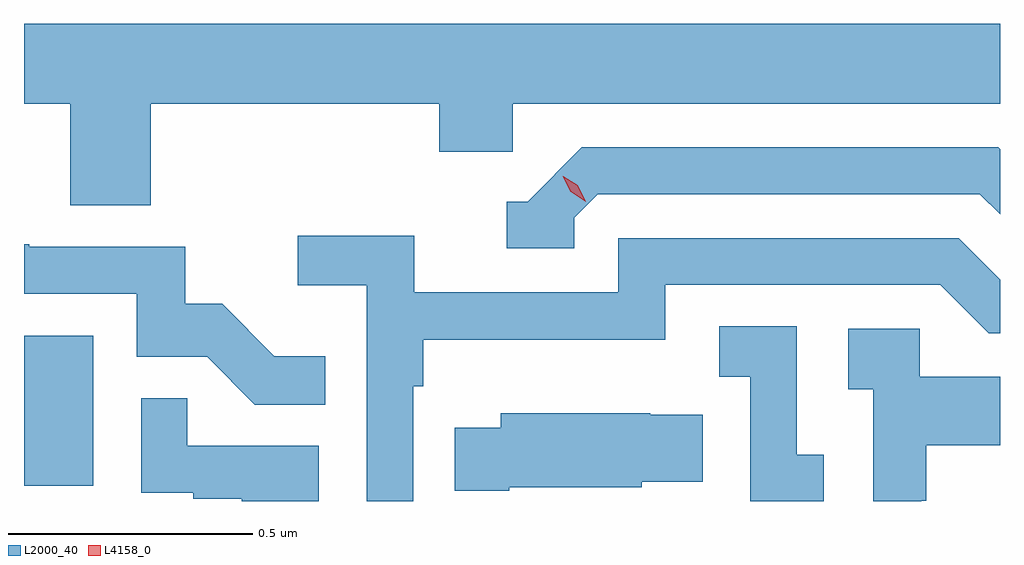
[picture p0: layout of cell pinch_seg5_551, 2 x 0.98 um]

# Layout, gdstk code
import gdstk
lib = gdstk.Library(unit=1e-6, precision=1e-09)
def R(c, l, rs):  # rectangles x0, y0, x1, y1
    for r in rs: c.add(gdstk.rectangle(r[:2], r[2:], *l))
def P(c, l, *ps):  # polygons
    for p in ps: c.add(gdstk.Polygon(p, *l))
L2000_40 = (2000, 40)
L4158_0 = (4158, 0)

pinch_seg5_551 = lib.new_cell('pinch_seg5_551')
R(pinch_seg5_551, L2000_40, [(975.642,838.662,975.784,838.969)])
P(pinch_seg5_551, L2000_40, [(975.902,839.444),(976.493,839.444),(976.493,839.346),(976.644,839.346),(976.644,839.444),(977.642,839.444),(977.642,839.608),(975.642,839.608),(975.642,839.444),(975.737,839.444),(975.737,839.236),(975.902,839.236)],
  [(976.77,839.211),(976.818,839.259),(977.601,839.259),(977.642,839.218),(977.642,839.351),(977.638,839.355),(976.785,839.355),(976.674,839.244),(976.631,839.244),(976.631,839.148),(976.77,839.148)],
  [(976.44,838.865),(976.46,838.865),(976.46,838.961),(976.956,838.961),(976.956,839.073),(977.52,839.073),(977.619,838.974),(977.642,838.974),(977.642,839.084),(977.557,839.169),(976.86,839.169),(976.86,839.058),(976.442,839.058),(976.442,839.174),(976.203,839.174),(976.203,839.072),(976.344,839.072),(976.344,838.63),(976.44,838.63)],
  [(976.259,838.927),(976.155,838.927),(976.048,839.034),(975.972,839.034),(975.972,839.151),(975.653,839.151),(975.653,839.156),(975.642,839.156),(975.642,839.055),(975.873,839.055),(975.873,838.926),(976.017,838.926),(976.115,838.828),(976.259,838.828)],
  [(977.281,838.725),(977.226,838.725),(977.226,838.988),(977.067,838.988),(977.067,838.885),(977.13,838.885),(977.13,838.63),(977.281,838.63)],
  [(977.481,838.631),(977.491,838.631),(977.491,838.745),(977.642,838.745),(977.642,838.885),(977.478,838.885),(977.478,838.983),(977.331,838.983),(977.331,838.859),(977.382,838.859),(977.382,838.63),(977.481,838.63)],
  [(976.246,838.743),(975.977,838.743),(975.977,838.841),(975.882,838.841),(975.882,838.647),(975.989,838.647),(975.989,838.635),(976.088,838.635),(976.088,838.63),(976.246,838.63)],
  [(976.636,838.658),(976.908,838.658),(976.908,838.67),(977.033,838.67),(977.033,838.807),(976.925,838.807),(976.925,838.81),(976.619,838.81),(976.619,838.78),(976.525,838.78),(976.525,838.651),(976.636,838.651)])
P(pinch_seg5_551, L4158_0, [(976.793,839.244),(976.762,839.264),(976.746,839.296),(976.746,839.296),(976.747,839.296),(976.777,839.277),(976.793,839.244),(976.793,839.244)])

lib.write_gds('pinch_seg5_551.gds')
